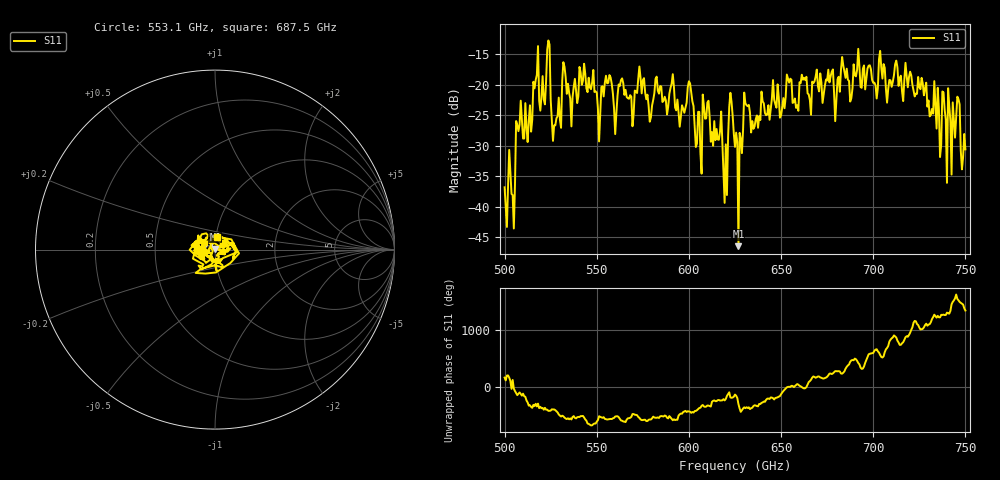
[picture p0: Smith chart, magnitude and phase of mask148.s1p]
!Created with skrf (http://scikit-rf.org).
# GHz S MA R 50.0
!freq magS11 angS11
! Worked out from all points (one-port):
!   401 points, 500 GHz to 750 GHz, reference 50 ohm
!   lowest |S11| = -46.5 dB at 626.9 GHz (marker M1), VSWR 1.01, Z = 50.2 + j0.412 ohm
!   |S11| at or under -10 dB: start of sweep to end of sweep
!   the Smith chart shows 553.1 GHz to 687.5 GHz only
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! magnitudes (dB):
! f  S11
! 500 GHz  -36.8
! 504.4 GHz  -38.1
! 507.5 GHz  -27.6
! 513.8 GHz  -23.4
! 516.9 GHz  -19.2
! 520.6 GHz  -18.6
! 523.8 GHz  -12.7
! 526.9 GHz  -26.7
! 531.2 GHz  -19.4
! 556.2 GHz  -19.7
! 560 GHz  -28.1
! 562.5 GHz  -20.2
! 593.8 GHz  -22.4
! 600.6 GHz  -19.8
! 605.6 GHz  -24.5
! 609.4 GHz  -25.5
! 619.4 GHz  -39.4
! 622.5 GHz  -21.3
! 625 GHz  -30.2
! 626.9 GHz  -46.5
! 631.2 GHz  -23.4
! 635 GHz  -27.2
! 656.2 GHz  -23.0
! 687.5 GHz  -22.8
! 718.8 GHz  -20.4
! 741.2 GHz  -23.5
! 745.6 GHz  -22.0
! 750 GHz  -30.6
